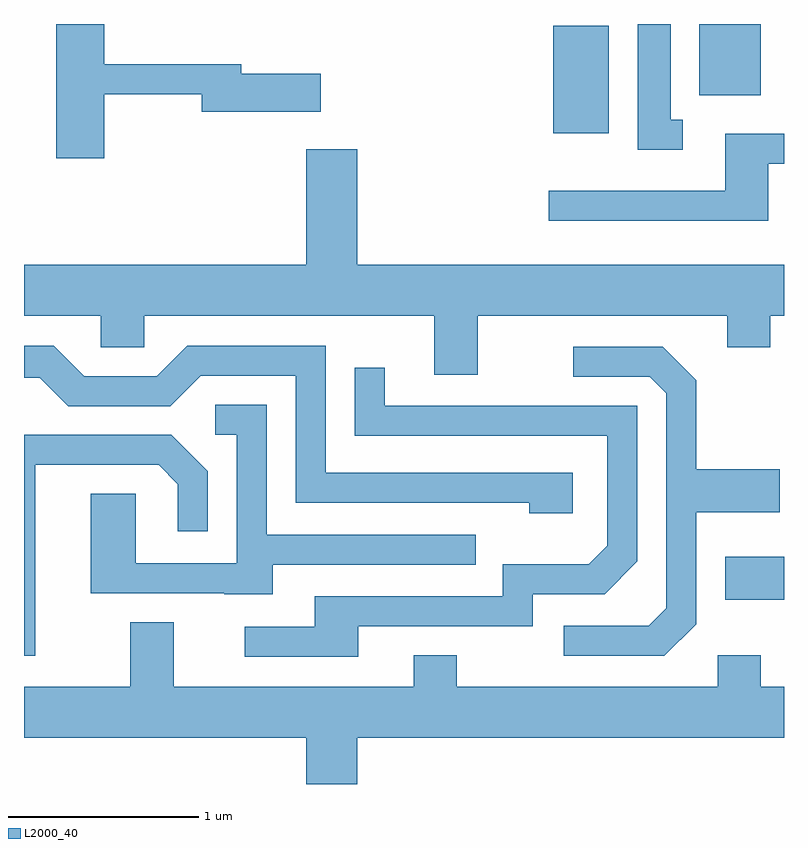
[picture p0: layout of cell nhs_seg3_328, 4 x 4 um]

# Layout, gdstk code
import gdstk
lib = gdstk.Library(unit=1e-6, precision=1e-09)
def R(c, l, rs):  # rectangles x0, y0, x1, y1
    for r in rs: c.add(gdstk.rectangle(r[:2], r[2:], *l))
def P(c, l, *ps):  # polygons
    for p in ps: c.add(gdstk.Polygon(p, *l))
L2000_40 = (2000, 40)

nhs_seg3_328 = lib.new_cell('nhs_seg3_328')
R(nhs_seg3_328, L2000_40, [(197.301,1228.861,197.611,1229.089), (196.396,1231.316,196.689,1231.884), (197.166,1231.516,197.489,1231.892)])
P(nhs_seg3_328, L2000_40, [(197.078,1231.389),(197.014,1231.389),(197.014,1231.892),(196.841,1231.892),(196.841,1231.231),(197.078,1231.231)],
  [(194.034,1231.521),(194.546,1231.521),(194.546,1231.431),(195.174,1231.431),(195.174,1231.629),(194.754,1231.629),(194.754,1231.679),(194.034,1231.679),(194.034,1231.892),(193.781,1231.892),(193.781,1231.186),(194.034,1231.186)],
  [(197.529,1231.156),(197.611,1231.156),(197.611,1231.314),(197.301,1231.314),(197.301,1231.014),(196.373,1231.014),(196.373,1230.856),(197.529,1230.856)],
  [(195.999,1230.356),(197.311,1230.356),(197.311,1230.191),(197.539,1230.191),(197.539,1230.356),(197.611,1230.356),(197.611,1230.624),(195.364,1230.624),(195.364,1231.234),(195.096,1231.234),(195.096,1230.624),(193.611,1230.624),(193.611,1230.356),(194.016,1230.356),(194.016,1230.191),(194.244,1230.191),(194.244,1230.356),(195.771,1230.356),(195.771,1230.046),(195.999,1230.046)],
  [(196.499,1229.529),(195.199,1229.529),(195.199,1230.199),(194.469,1230.199),(194.309,1230.039),(193.927,1230.039),(193.767,1230.199),(193.611,1230.199),(193.611,1230.031),(193.694,1230.031),(193.844,1229.881),(194.382,1229.881),(194.542,1230.041),(195.041,1230.041),(195.041,1229.371),(196.271,1229.371),(196.271,1229.316),(196.499,1229.316)],
  [(197.149,1228.734),(197.149,1229.321),(197.589,1229.321),(197.589,1229.549),(197.149,1229.549),(197.149,1230.017),(196.972,1230.194),(196.503,1230.194),(196.503,1230.036),(196.904,1230.036),(196.991,1229.949),(196.991,1228.817),(196.899,1228.724),(196.453,1228.724),(196.453,1228.566),(196.982,1228.566)],
  [(195.369,1228.721),(196.289,1228.721),(196.289,1228.891),(196.667,1228.891),(196.839,1229.064),(196.839,1229.884),(195.509,1229.884),(195.509,1230.083),(195.351,1230.083),(195.351,1229.726),(196.681,1229.726),(196.681,1229.147),(196.584,1229.049),(196.131,1229.049),(196.131,1228.879),(195.141,1228.879),(195.141,1228.719),(194.773,1228.719),(194.773,1228.561),(195.369,1228.561)],
  [(194.919,1229.046),(195.988,1229.046),(195.988,1229.204),(194.889,1229.204),(194.889,1229.889),(194.618,1229.889),(194.618,1229.731),(194.731,1229.731),(194.731,1229.054),(194.199,1229.054),(194.199,1229.419),(193.961,1229.419),(193.961,1228.896),(194.665,1228.896),(194.665,1228.891),(194.919,1228.891)],
  [(193.669,1229.571),(194.319,1229.571),(194.421,1229.469),(194.421,1229.223),(194.579,1229.223),(194.579,1229.537),(194.387,1229.729),(193.611,1229.729),(193.611,1228.566),(193.669,1228.566)],
  [(195.364,1228.136),(197.611,1228.136),(197.611,1228.404),(197.489,1228.404),(197.489,1228.569),(197.261,1228.569),(197.261,1228.404),(195.889,1228.404),(195.889,1228.569),(195.661,1228.569),(195.661,1228.404),(194.399,1228.404),(194.399,1228.744),(194.171,1228.744),(194.171,1228.404),(193.611,1228.404),(193.611,1228.136),(195.096,1228.136),(195.096,1227.892),(195.364,1227.892)])

lib.write_gds('nhs_seg3_328.gds')
